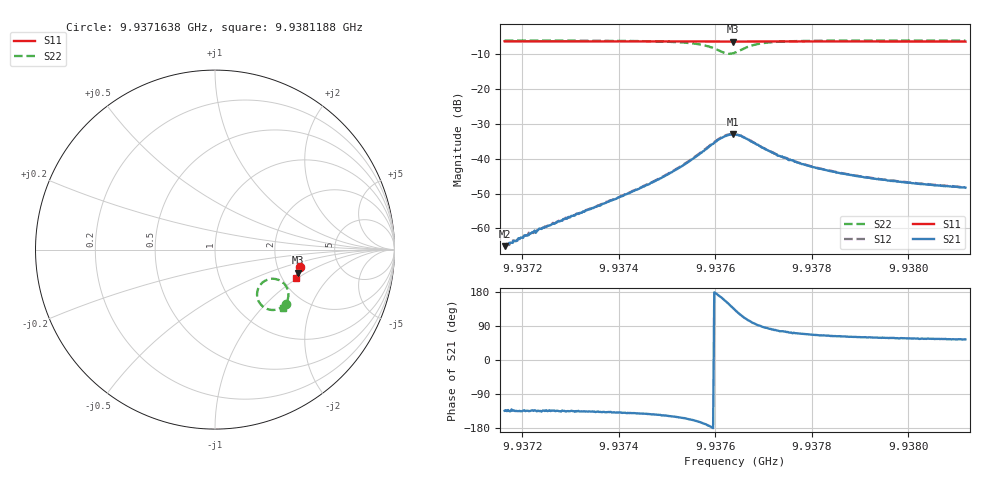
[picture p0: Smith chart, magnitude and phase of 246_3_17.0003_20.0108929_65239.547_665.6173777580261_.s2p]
#  HZ  S  RI  R  50.00
! Rohde & Schwarz Vector Network Analyzer
! Rohde-Schwarz,ZNB20-2Port,1311601062101988,3.16
! Created: UTC 3/20/2024, 11:03:05 PM
! freq[Hz]  re:S11  im:S11  re:S21  im:S21  re:S12  im:S12  re:S22  im:S22
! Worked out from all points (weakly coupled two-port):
!   401 points, 9.9371638 GHz to 9.9381188 GHz, reference 50 ohm
!   highest |S21| = -33.00 dB at 9.9376365 GHz (marker M1); lowest = -65.1 dB at 9.9371638 GHz (marker M2)
!   lowest |S11| = -6.4 dB at 9.9376365 GHz (marker M3), VSWR 2.84, Z = 126 - j41.8 ohm
!   |S11| at or under -10 dB: nowhere
!   |S22| runs from -9.9 to -6.1 dB; largest |S21 - S12| = 0.00094
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9.93716378e9  0.474 -0.0979  -0.000384 -0.0004  -0.000412 -0.000391  0.3959 -0.3012
9.93717333e9  0.4738 -0.0986  -0.000438 -0.000437  -0.000414 -0.000404  0.3951 -0.3021
9.93723779e9  0.4726 -0.103  -0.000689 -0.000707  -0.000688 -0.000687  0.39 -0.3071
9.93732374e9  0.4708 -0.1088  -0.00119 -0.00117  -0.00126 -0.00119  0.3812 -0.3147
9.93741925e9  0.4689 -0.1154  -0.00242 -0.00206  -0.00249 -0.00203  0.3664 -0.3247
9.93748371e9  0.4674 -0.1196  -0.00414 -0.00292  -0.00431 -0.00293  0.348 -0.3325
9.93753385e9  0.466 -0.1231  -0.00718 -0.00363  -0.0074 -0.00358  0.3207 -0.3363
9.93757921e9  0.4643 -0.1262  -0.0132 -0.00256  -0.0134 -0.00233  0.272 -0.321
9.93759593e9  0.4634 -0.127  -0.0163 -7.59e-05  -0.0168 0.000176  0.2487 -0.2971
9.93761264e9  0.4627 -0.1275  -0.0191 0.00489  -0.0194 0.00576  0.2344 -0.2528
9.93762458e9  0.4624 -0.1277  -0.019 0.0101  -0.0191 0.0108  0.2424 -0.2131
9.93763651e9  0.4621 -0.1278  -0.0166 0.015  -0.0164 0.0159  0.2704 -0.179
9.93764129e9  0.4623 -0.1279  -0.0149 0.0164  -0.0144 0.0172  0.2857 -0.1702
9.93765084e9  0.4624 -0.1284  -0.0111 0.0183  -0.0107 0.0187  0.3175 -0.1623
9.93766755e9  0.4628 -0.1292  -0.00509 0.0182  -0.00465 0.0185  0.3635 -0.1729
9.9376962e9  0.4629 -0.1313  0.00038 0.0146  0.00083 0.0146  0.3996 -0.2105
9.93773202e9  0.4623 -0.1341  0.0025 0.0107  0.00273 0.0108  0.4087 -0.2455
9.93777022e9  0.4616 -0.137  0.00296 0.00831  0.00318 0.00832  0.4074 -0.2678
9.93780125e9  0.4609 -0.1391  0.00301 0.00704  0.00321 0.00704  0.4042 -0.2796
9.93788004e9  0.459 -0.1443  0.0028 0.00512  0.00293 0.00511  0.3959 -0.2978
9.93796122e9  0.4569 -0.1498  0.00256 0.00413  0.00266 0.00412  0.3885 -0.3093
9.9381188e9  0.4529 -0.1599  0.00223 0.00312  0.00231 0.00314  0.377 -0.3241
